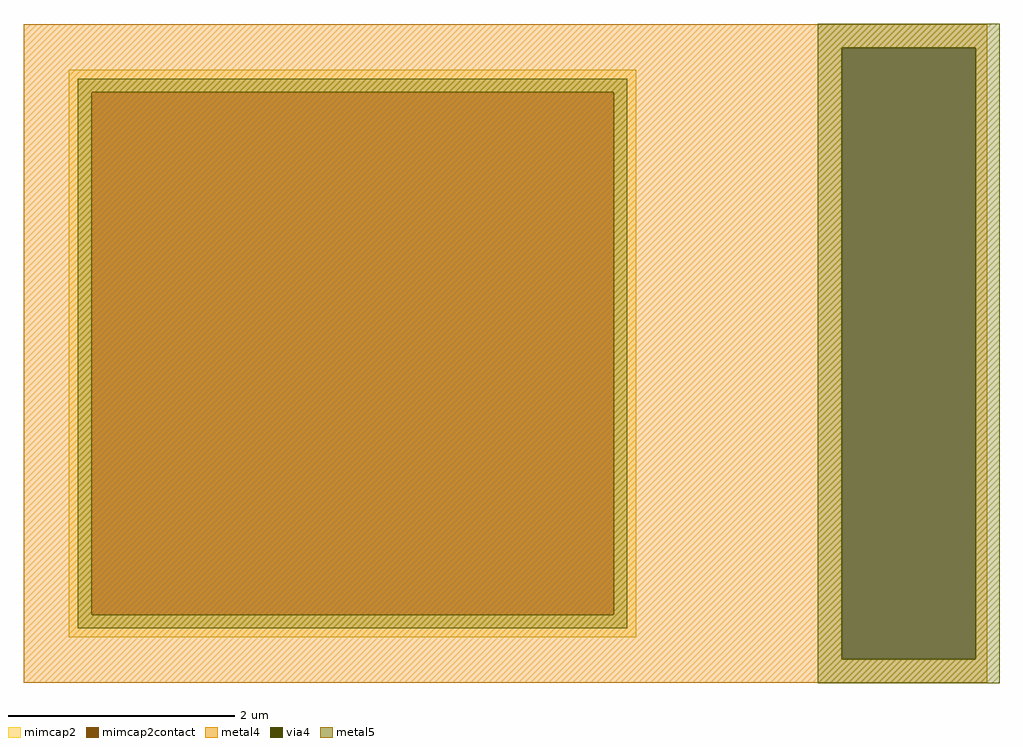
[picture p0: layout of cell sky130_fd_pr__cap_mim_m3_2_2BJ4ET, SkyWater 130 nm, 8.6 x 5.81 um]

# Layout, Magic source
magic
tech sky130A
magscale 1 2
<< metal4 >>
rect -849 539 849 580
rect -849 -539 593 539
rect 829 -539 849 539
rect -849 -580 849 -539
<< via4 >>
rect 593 -539 829 539
<< mimcap2 >>
rect -769 460 231 500
rect -769 -460 -729 460
rect 191 -460 231 460
rect -769 -500 231 -460
<< mimcap2contact >>
rect -729 -460 191 460
<< metal5 >>
rect 551 539 871 581
rect -753 460 215 484
rect -753 -460 -729 460
rect 191 -460 215 460
rect -753 -484 215 -460
rect 551 -539 593 539
rect 829 -539 871 539
rect 551 -581 871 -539
<< properties >>
string FIXED_BBOX -849 -580 311 580
string gencell sky130_fd_pr__cap_mim_m3_2
string library sky130
string parameters w 5 l 5 val 53.8 carea 2.00 cperi 0.19 class capacitor nx 1 ny 1 dummy 0 square 0 lmin 2.00 wmin 2.00 lmax 30.0 wmax 30.0 dc 0 bconnect 0 tconnect 0 ccov 100
<< end >>
